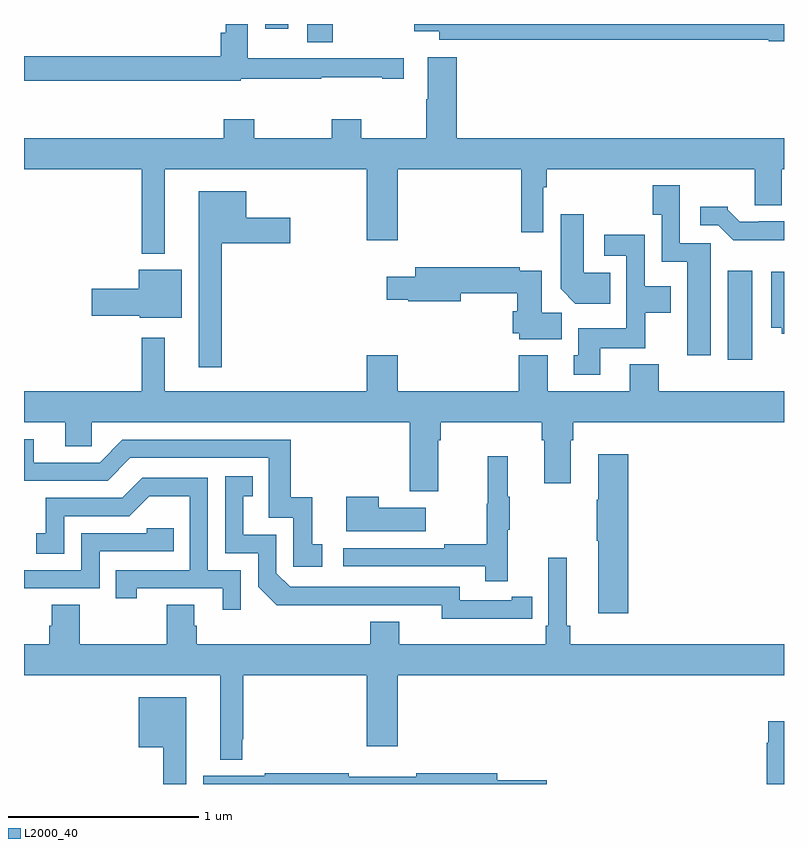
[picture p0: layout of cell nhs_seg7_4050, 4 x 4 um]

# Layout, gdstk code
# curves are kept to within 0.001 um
import gdstk
lib = gdstk.Library(unit=1e-6, precision=1e-09)
def R(c, l, rs):  # rectangles x0, y0, x1, y1
    for r in rs: c.add(gdstk.rectangle(r[:2], r[2:], *l))
def P(c, l, *ps):  # polygons
    for p in ps: c.add(gdstk.Polygon(p, *l))
L2000_40 = (2000, 40)

nhs_seg7_4050 = lib.new_cell('nhs_seg7_4050')
R(nhs_seg7_4050, L2000_40, [(370.703,1046.232,370.834,1046.701), (368.492,1047.904,368.626,1048), (368.27,1047.975,368.392,1048)])
P(nhs_seg7_4050, L2000_40, [(368.142,1047.711),(368.564,1047.711),(368.564,1047.721),(368.885,1047.721),(368.885,1047.711),(368.998,1047.711),(368.998,1047.821),(368.722,1047.821),(368.722,1047.819),(368.388,1047.819),(368.388,1047.82),(368.178,1047.82),(368.178,1048),(368.062,1048),(368.062,1047.955),(368.036,1047.955),(368.036,1047.83),(367,1047.83),(367,1047.702),(368.142,1047.702)],
  [(371,1048),(369.053,1048),(369.053,1047.962),(369.186,1047.962),(369.186,1047.916),(370.92,1047.916),(370.92,1047.908),(371,1047.908)],
  [(367.741,1047.236),(368.804,1047.236),(368.804,1046.862),(368.968,1046.862),(368.968,1047.236),(369.616,1047.236),(369.616,1046.904),(369.732,1046.904),(369.732,1047.14),(369.752,1047.14),(369.752,1047.236),(370.847,1047.236),(370.847,1047.046),(370.987,1047.046),(370.987,1047.236),(371,1047.236),(371,1047.4),(369.278,1047.4),(369.278,1047.826),(369.125,1047.826),(369.125,1047.605),(369.118,1047.605),(369.118,1047.4),(368.775,1047.4),(368.775,1047.499),(368.62,1047.499),(368.62,1047.4),(368.211,1047.4),(368.211,1047.499),(368.051,1047.499),(368.051,1047.4),(367,1047.4),(367,1047.236),(367.62,1047.236),(367.62,1046.792),(367.741,1046.792)],
  [(370.615,1046.847),(370.452,1046.847),(370.452,1047.151),(370.309,1047.151),(370.309,1046.995),(370.356,1046.995),(370.356,1046.75),(370.49,1046.75),(370.49,1046.256),(370.615,1046.256)],
  [(368.041,1046.846),(368.401,1046.846),(368.401,1046.98),(368.17,1046.98),(368.17,1047.121),(367.919,1047.121),(367.919,1046.193),(368.041,1046.193)],
  [(371,1046.961),(370.867,1046.961),(370.867,1046.958),(370.768,1046.958),(370.704,1047.022),(370.704,1047.037),(370.56,1047.037),(370.56,1046.94),(370.653,1046.94),(370.732,1046.862),(371,1046.862)],
  [(370.085,1046.692),(369.946,1046.692),(369.946,1046.998),(369.824,1046.998),(369.824,1046.606),(369.902,1046.528),(370.085,1046.528)],
  [(370.033,1046.294),(370.269,1046.294),(370.269,1046.48),(370.405,1046.48),(370.405,1046.62),(370.266,1046.62),(370.266,1046.89),(370.053,1046.89),(370.053,1046.781),(370.17,1046.781),(370.17,1046.398),(369.917,1046.398),(369.917,1046.256),(369.893,1046.256),(369.893,1046.154),(370.033,1046.154)],
  [(369.829,1046.48),(369.724,1046.48),(369.724,1046.702),(369.608,1046.702),(369.608,1046.72),(369.059,1046.72),(369.059,1046.671),(368.91,1046.671),(368.91,1046.549),(369.022,1046.549),(369.022,1046.542),(369.298,1046.542),(369.298,1046.584),(369.595,1046.584),(369.595,1046.487),(369.572,1046.487),(369.572,1046.373),(369.606,1046.373),(369.606,1046.342),(369.829,1046.342)],
  [(367.831,1046.707),(367.604,1046.707),(367.604,1046.606),(367.356,1046.606),(367.356,1046.464),(367.608,1046.464),(367.608,1046.453),(367.831,1046.453)],
  [(371,1046.695),(370.934,1046.695),(370.934,1046.402),(370.989,1046.402),(370.989,1046.37),(371,1046.37)],
  [(369.181,1045.808),(369.194,1045.808),(369.194,1045.904),(369.725,1045.904),(369.725,1045.808),(369.737,1045.808),(369.737,1045.584),(369.877,1045.584),(369.877,1045.808),(369.89,1045.808),(369.89,1045.904),(371,1045.904),(371,1046.068),(370.34,1046.068),(370.34,1046.209),(370.187,1046.209),(370.187,1046.068),(369.757,1046.068),(369.757,1046.257),(369.605,1046.257),(369.605,1046.068),(368.968,1046.068),(368.968,1046.257),(368.804,1046.257),(368.804,1046.068),(367.741,1046.068),(367.741,1046.35),(367.62,1046.35),(367.62,1046.068),(367,1046.068),(367,1045.904),(367.217,1045.904),(367.217,1045.777),(367.356,1045.777),(367.356,1045.904),(369.029,1045.904),(369.029,1045.542),(369.181,1045.542)],
  [(368.569,1045.263),(368.516,1045.263),(368.516,1045.51),(368.405,1045.51),(368.405,1045.812),(367.518,1045.812),(367.398,1045.692),(367.051,1045.692),(367.051,1045.815),(367,1045.815),(367,1045.596),(367.44,1045.596),(367.56,1045.716),(368.289,1045.716),(368.289,1045.401),(368.418,1045.401),(368.418,1045.143),(368.569,1045.143)],
  [(370.181,1045.735),(370.022,1045.735),(370.022,1045.496),(370.015,1045.496),(370.015,1045.279),(370.022,1045.279),(370.022,1044.9),(370.181,1044.9)],
  [(369.545,1045.339),(369.556,1045.339),(369.556,1045.513),(369.545,1045.513),(369.545,1045.726),(369.442,1045.726),(369.442,1045.476),(369.435,1045.476),(369.435,1045.262),(369.211,1045.262),(369.211,1045.242),(368.679,1045.242),(368.679,1045.146),(369.427,1045.146),(369.427,1045.068),(369.545,1045.068)],
  [(369.566,1044.87),(369.674,1044.87),(369.674,1044.986),(369.566,1044.986),(369.566,1044.966),(369.294,1044.966),(369.294,1045.038),(368.4,1045.038),(368.328,1045.11),(368.328,1045.311),(368.155,1045.311),(368.155,1045.515),(368.204,1045.515),(368.204,1045.621),(368.058,1045.621),(368.058,1045.215),(368.232,1045.215),(368.232,1045.038),(368.33,1044.941),(369.198,1044.942),(369.198,1044.869)],
  [(368.142,1045.125),(367.968,1045.125),(367.968,1045.611),(367.622,1045.611),(367.517,1045.506),(367.114,1045.506),(367.114,1045.321),(367.065,1045.321),(367.065,1045.212),(367.212,1045.212),(367.212,1045.41),(367.554,1045.41),(367.658,1045.514),(367.872,1045.514),(367.872,1045.125),(367.483,1045.125),(367.483,1044.978),(367.594,1044.978),(367.594,1045.029),(368.045,1045.029),(368.045,1044.918),(368.142,1044.918)],
  [(369.115,1045.453),(368.867,1045.453),(368.867,1045.513),(368.696,1045.513),(368.696,1045.331),(369.115,1045.331)],
  [(367.398,1045.224),(367.787,1045.224),(367.787,1045.347),(367.647,1045.347),(367.647,1045.32),(367.302,1045.32),(367.302,1045.125),(367,1045.125),(367,1045.029),(367.398,1045.029)],
  [(368.148,1044.235),(368.155,1044.235),(368.155,1044.572),(368.804,1044.572),(368.804,1044.198),(368.968,1044.198),(368.968,1044.572),(371,1044.572),(371,1044.736),(369.875,1044.736),(369.875,1044.832),(369.856,1044.832),(369.856,1045.192),(369.759,1045.192),(369.759,1044.832),(369.746,1044.832),(369.746,1044.736),(368.974,1044.736),(368.974,1044.853),(368.822,1044.853),(368.822,1044.736),(367.91,1044.736),(367.91,1044.834),(367.897,1044.834),(367.897,1044.944),(367.75,1044.944),(367.75,1044.736),(367.293,1044.736),(367.293,1044.944),(367.145,1044.944),(367.145,1044.834),(367.133,1044.834),(367.133,1044.736),(367,1044.736),(367,1044.572),(368.033,1044.572),(368.033,1044.128),(368.148,1044.128)],
  [(367.855,1044.457),(367.604,1044.457),(367.604,1044.194),(367.734,1044.194),(367.734,1044),(367.855,1044)],
  [(371,1044.331),(370.917,1044.331),(370.917,1044.218),(370.909,1044.218),(370.909,1044),(371,1044)],
  [(369.751,1044.02),(369.49,1044.02),(369.49,1044.056),(369.064,1044.056),(369.064,1044.037),(368.708,1044.037),(368.708,1044.056),(368.266,1044.056),(368.266,1044.043),(367.943,1044.043),(367.943,1044),(369.751,1044)])

lib.write_gds('nhs_seg7_4050.gds')
